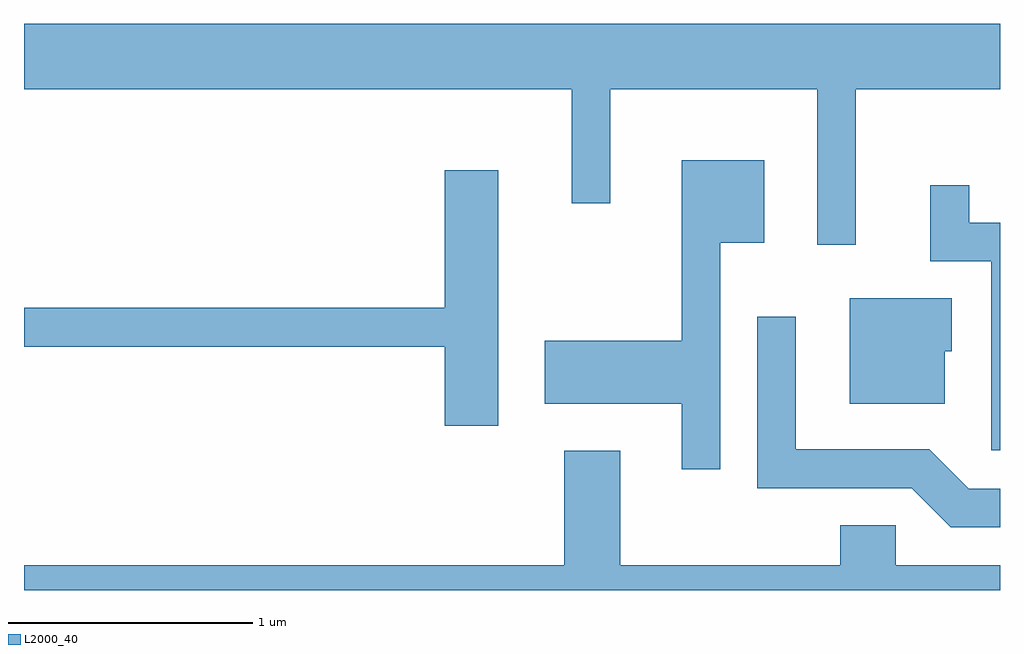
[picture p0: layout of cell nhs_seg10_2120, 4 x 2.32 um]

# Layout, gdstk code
import gdstk
lib = gdstk.Library(unit=1e-6, precision=1e-09)
def P(c, l, *ps):  # polygons
    for p in ps: c.add(gdstk.Polygon(p, *l))
L2000_40 = (2000, 40)

nhs_seg10_2120 = lib.new_cell('nhs_seg10_2120')
P(nhs_seg10_2120, L2000_40, [(251.019,2120.576),(251.611,2120.576),(251.611,2120.844),(247.611,2120.844),(247.611,2120.576),(249.856,2120.576),(249.856,2120.108),(250.014,2120.108),(250.014,2120.576),(250.861,2120.576),(250.861,2119.938),(251.019,2119.938)],
  [(250.464,2119.946),(250.644,2119.946),(250.644,2120.284),(250.306,2120.284),(250.306,2119.544),(249.746,2119.544),(249.746,2119.286),(250.306,2119.286),(250.306,2119.018),(250.464,2119.018)],
  [(249.554,2120.244),(249.336,2120.244),(249.336,2119.679),(247.611,2119.679),(247.611,2119.521),(249.336,2119.521),(249.336,2119.196),(249.554,2119.196)],
  [(251.611,2120.029),(251.484,2120.029),(251.484,2120.183),(251.326,2120.183),(251.326,2119.871),(251.576,2119.871),(251.576,2119.096),(251.611,2119.096)],
  [(251.384,2119.501),(251.414,2119.501),(251.414,2119.719),(250.996,2119.719),(250.996,2119.286),(251.384,2119.286)],
  [(251.611,2118.939),(251.482,2118.939),(251.322,2119.099),(250.774,2119.099),(250.774,2119.643),(250.616,2119.643),(250.616,2118.941),(251.249,2118.941),(251.409,2118.781),(251.611,2118.781)],
  [(251.611,2118.624),(251.184,2118.624),(251.184,2118.789),(250.956,2118.789),(250.956,2118.624),(250.054,2118.624),(250.054,2119.094),(249.826,2119.094),(249.826,2118.624),(247.611,2118.624),(247.611,2118.522),(251.611,2118.522)])

lib.write_gds('nhs_seg10_2120.gds')
